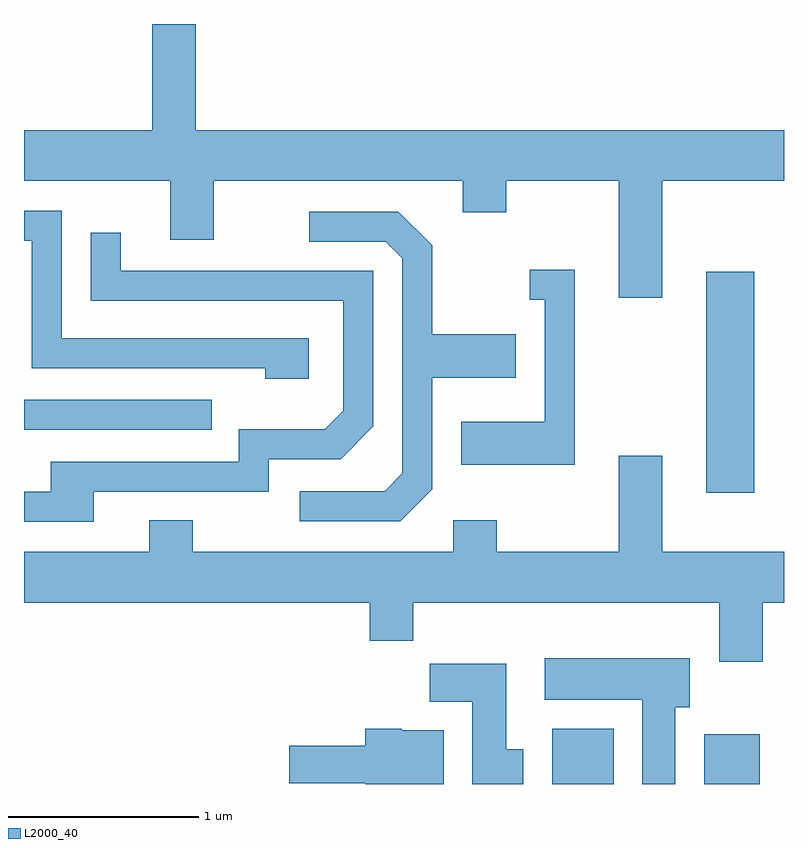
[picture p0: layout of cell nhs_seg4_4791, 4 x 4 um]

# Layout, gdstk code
import gdstk
lib = gdstk.Library(unit=1e-6, precision=1e-09)
def R(c, l, rs):  # rectangles x0, y0, x1, y1
    for r in rs: c.add(gdstk.rectangle(r[:2], r[2:], *l))
def P(c, l, *ps):  # polygons
    for p in ps: c.add(gdstk.Polygon(p, *l))
L2000_40 = (2000, 40)

nhs_seg4_4791 = lib.new_cell('nhs_seg4_4791')
R(nhs_seg4_4791, L2000_40, [(328.391,1315.982,328.714,1316.274), (329.191,1315.982,329.484,1316.244), (329.201,1317.516,329.454,1318.679), (325.611,1317.846,326.598,1318.004)])
P(nhs_seg4_4791, L2000_40, [(326.514,1319.982),(326.286,1319.982),(326.286,1319.424),(325.611,1319.424),(325.611,1319.156),(326.381,1319.156),(326.381,1318.846),(326.609,1318.846),(326.609,1319.156),(327.921,1319.156),(327.921,1318.991),(328.149,1318.991),(328.149,1319.156),(328.741,1319.156),(328.741,1318.541),(328.969,1318.541),(328.969,1319.156),(329.611,1319.156),(329.611,1319.424),(326.514,1319.424)],
  [(327.109,1318.329),(325.809,1318.329),(325.809,1318.999),(325.611,1318.999),(325.611,1318.841),(325.651,1318.841),(325.651,1318.171),(326.881,1318.171),(326.881,1318.116),(327.109,1318.116)],
  [(327.759,1317.534),(327.759,1318.121),(328.199,1318.121),(328.199,1318.349),(327.759,1318.349),(327.759,1318.817),(327.582,1318.994),(327.113,1318.994),(327.113,1318.836),(327.514,1318.836),(327.601,1318.749),(327.601,1317.617),(327.509,1317.524),(327.063,1317.524),(327.063,1317.366),(327.592,1317.366)],
  [(325.979,1317.521),(326.899,1317.521),(326.899,1317.691),(327.277,1317.691),(327.449,1317.864),(327.449,1318.684),(326.119,1318.684),(326.119,1318.883),(325.961,1318.883),(325.961,1318.526),(327.291,1318.526),(327.291,1317.947),(327.194,1317.849),(326.741,1317.849),(326.741,1317.679),(325.751,1317.679),(325.751,1317.519),(325.611,1317.519),(325.611,1317.361),(325.979,1317.361)],
  [(328.509,1318.689),(328.273,1318.689),(328.273,1318.531),(328.351,1318.531),(328.351,1317.889),(327.911,1317.889),(327.911,1317.661),(328.509,1317.661)],
  [(329.499,1316.936),(329.611,1316.936),(329.611,1317.204),(328.969,1317.204),(328.969,1317.709),(328.741,1317.709),(328.741,1317.204),(328.099,1317.204),(328.099,1317.369),(327.871,1317.369),(327.871,1317.204),(326.499,1317.204),(326.499,1317.369),(326.271,1317.369),(326.271,1317.204),(325.611,1317.204),(325.611,1316.936),(327.431,1316.936),(327.431,1316.736),(327.659,1316.736),(327.659,1316.936),(329.271,1316.936),(329.271,1316.626),(329.499,1316.626)],
  [(329.039,1316.386),(329.114,1316.386),(329.114,1316.644),(328.351,1316.644),(328.351,1316.426),(328.866,1316.426),(328.866,1315.982),(329.039,1315.982)],
  [(328.239,1316.164),(328.149,1316.164),(328.149,1316.614),(327.746,1316.614),(327.746,1316.416),(327.971,1316.416),(327.971,1315.982),(328.239,1315.982)],
  [(327.819,1316.264),(327.6,1316.264),(327.6,1316.274),(327.406,1316.274),(327.406,1316.184),(327.006,1316.184),(327.006,1315.986),(327.406,1315.986),(327.406,1315.982),(327.819,1315.982)])

lib.write_gds('nhs_seg4_4791.gds')
